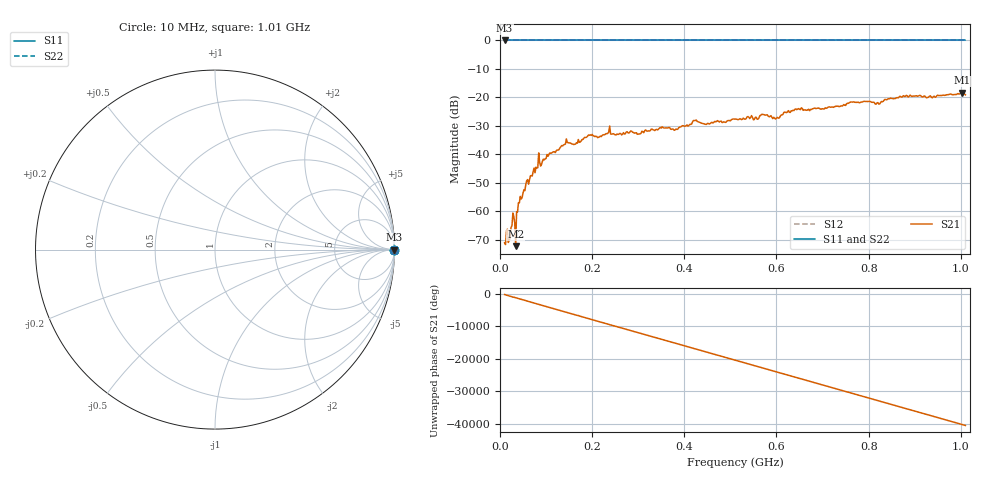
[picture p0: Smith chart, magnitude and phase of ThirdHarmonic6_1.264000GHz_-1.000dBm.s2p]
! 8/16/2025 1:37:24 PM
! C:\ANRITSUVNA\TEMP\TEMP.S2P
! CHANNEL.1
! TR.MEASUREMENT
! RAW.DATA
! RF.CORRECTION.OFF
! AVERAGING.OFF
! IF.BANDWIDTH: 5KHZ
! SWEEPTYPE:  FREQ.SWEEP(Linear)
! Reference Plane Port Info
! PORT:  PORT1  PORT2
! DISTANCE:  0  m  0  m
! TIME:  0  s  0  s
! PHASE.OFFSET:  0  deg.  0  deg.
! LOSS:  0  dB  0  dB
! REF.LOSS:  0  dB  0  dB
! REF.FREQ:  0  Hz  0  Hz
! Power Info
! POWER:  -20  dBm  -20  dBm
! EFF.POWER:  -20  dBm  -20  dBm
! SOURCE.ATTEN:  0  dB  0  dB
! TEST.ATTEN:  0  dB  0  dB
# GHZ S RI R 50.0
! FREQ.GHZ  S11RE  S11IM  S21RE  S21IM  S12RE  S12IM  S22RE  S22IM
!; PortSelection: Port_12
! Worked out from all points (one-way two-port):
!   501 points, 10 MHz to 1.01 GHz, reference 50 ohm
!   highest |S21| = -18.39 dB at 1.002 GHz (marker M1); lowest = -72.3 dB at 34 MHz (marker M2)
!   lowest |S11| = 0.0 dB at 10 MHz (marker M3)
!   |S11| at or under -10 dB: nowhere
!   |S22| runs from 0.0 to 0.0 dB; largest |S21 - S12| = 1.1
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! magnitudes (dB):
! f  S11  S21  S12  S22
! 10 MHz  0.0  -71.1  0.0  0.0
! 22 MHz  0.0  -69.5  0.0  0.0
! 28 MHz  0.0  -60.6  0.0  0.0
! 34 MHz  0.0  -72.3  0.0  0.0
! 38 MHz  0.0  -60.3  0.0  0.0
! 40 MHz  0.0  -57.0  0.0  0.0
! 56 MHz  0.0  -50.6  0.0  0.0
! 82 MHz  0.0  -44.7  0.0  0.0
! 142 MHz  0.0  -36.4  0.0  0.0
! 178 MHz  0.0  -34.8  0.0  0.0
! 234 MHz  0.0  -32.6  0.0  0.0
! 302 MHz  0.0  -32.8  0.0  0.0
! 344 MHz  0.0  -31.1  0.0  0.0
! 422 MHz  0.0  -28.2  0.0  0.0
! 510 MHz  0.0  -27.7  0.0  0.0
! 570 MHz  0.0  -26.0  0.0  0.0
! 602 MHz  0.0  -27.0  0.0  0.0
! 644 MHz  0.0  -24.3  0.0  0.0
! 678 MHz  0.0  -24.0  0.0  0.0
! 844 MHz  0.0  -20.4  0.0  0.0
! 1.002 GHz  0.0  -18.4  0.0  0.0
! 1.01 GHz  0.0  -19.1  0.0  0.0
